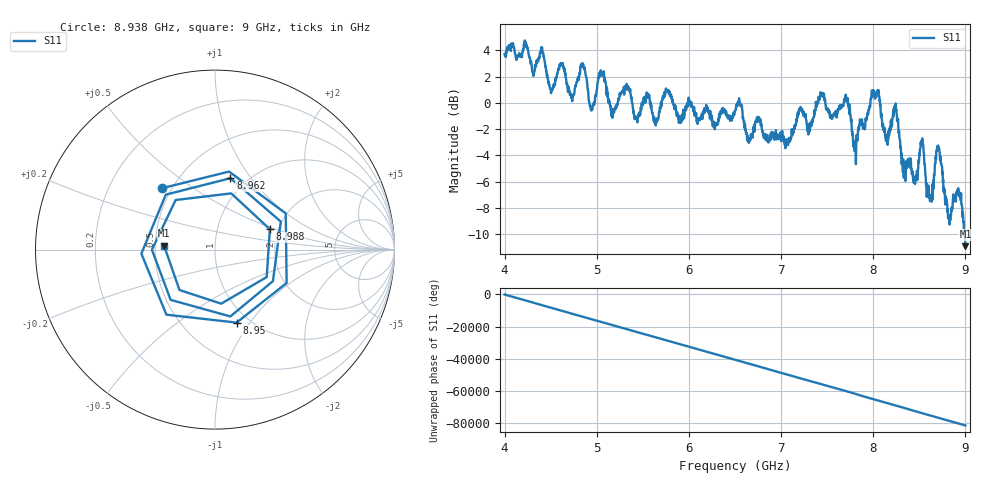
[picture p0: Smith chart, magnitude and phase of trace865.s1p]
! Created with skrf 1.8.0 (http://scikit-rf.org).
# Hz S RI R 50.0
!freq ReS11 ImS11
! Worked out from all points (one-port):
!   1601 points, 4 GHz to 9 GHz, reference 50 ohm
!   lowest |S11| = -10.9 dB at 9 GHz (marker M1), VSWR 1.80, Z = 27.9 + j1.34 ohm
!   |S11| at or under -10 dB: 8.992273 GHz to end of sweep
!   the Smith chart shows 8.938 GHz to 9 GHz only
!   S11 on the Smith chart (normalised r, x): 8.938 GHz: 0.44, +0.38; 8.95 GHz: 0.87, -0.87; 8.962 GHz: 0.84, +0.80; 8.988 GHz: 1.81, +0.46; 9 GHz: 0.56, +0.03
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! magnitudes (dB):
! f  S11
! 4 GHz  3.7
! 4.406 GHz  4.2
! 4.512 GHz  1.0
! 4.625 GHz  2.9
! 4.731 GHz  0.3
! 4.85 GHz  3.0
! 4.941 GHz  -0.3
! 5.053 GHz  2.4
! 5.25 GHz  0.7
! 5.875 GHz  -0.8
! 6.5 GHz  -0.6
! 7.125 GHz  -2.3
! 7.441 GHz  0.7
! 7.75 GHz  -0.9
! 7.806 GHz  -3.2
! 8.038 GHz  0.7
! 8.138 GHz  -2.9
! 8.247 GHz  -0.6
! 8.375 GHz  -4.3
! 8.525 GHz  -2.9
! 8.622 GHz  -7.0
! 8.706 GHz  -3.3
! 8.822 GHz  -8.6
! 8.938 GHz  -6.9
! 8.95 GHz  -7.4
! 8.962 GHz  -7.8
! 8.988 GHz  -9.7
! 9 GHz  -10.9
